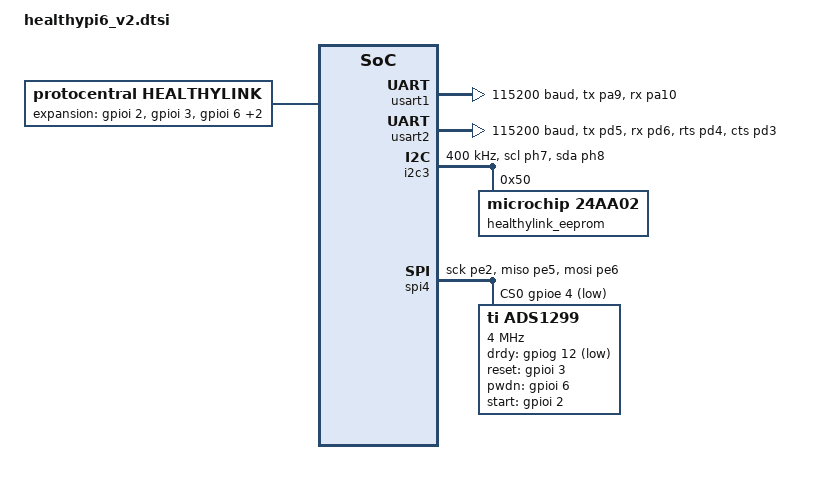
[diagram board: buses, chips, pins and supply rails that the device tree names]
/*
 * Copyright (c) 2019 Linaro Limited
 * Copyright (c) 2025 ProtoCentral
 *
 * SPDX-License-Identifier: Apache-2.0
 */

#include <zephyr/dt-bindings/input/input-event-codes.h>
#include <zephyr/dt-bindings/gpio/gpio.h>
#include <zephyr/dt-bindings/i2c/i2c.h>
#include <zephyr/dt-bindings/clock/stm32h7_clock.h>

&usart1 {
	pinctrl-0 = <&usart1_tx_pa9 &usart1_rx_pa10>;
	pinctrl-names = "default";
	current-speed = <115200>;
};

&usart2 {
	pinctrl-0 = <&usart2_tx_pd5 &usart2_rx_pd6 &usart2_rts_pd4 &usart2_cts_pd3>;
	pinctrl-names = "default";
	current-speed = <115200>;
};

&mailbox {
	status = "okay";
};

&rcc {
	d1cpre = <1>;
	hpre = <2>;
	d1ppre = <2>;
	d2ppre1 = <2>;
	d2ppre2 = <2>;
	d3ppre = <2>;
};

/*
 * HealthyLink Expansion Port Base Definitions
 *
 * Pin Assignments:
 *   SPI4:   PE2 (SCK), PE5 (MISO), PE6 (MOSI), PE4 (NSS)
 *   SPI6:   PG13 (SCK), PG12 (MISO), PG14 (MOSI), software CS
 *   FDCAN1: PH13 (TX), PH14 (RX)
 *   I2C3:   PH7 (SCL), PH8 (SDA) - Module EEPROM
 *   GPIO:   PI2, PI3, PI6, PA9, PA10
 */

/* I2C3 for module identification EEPROM */
&i2c3 {
	status = "okay";
	pinctrl-0 = <&i2c3_scl_ph7 &i2c3_sda_ph8>;
	pinctrl-names = "default";
	clock-frequency = <I2C_BITRATE_FAST>;

	/* Module ID EEPROM - Microchip 24AA02: 256 bytes @ 0x50 */
	healthylink_eeprom: eeprom@50 {
		compatible = "microchip,24aa02", "atmel,at24";
		reg = <0x50>;
		size = <256>;
		pagesize = <8>;
		address-width = <8>;
		timeout = <5>;
		status = "okay";
	};
};

/*
 * SPI4 for HealthyLink high-speed expansion
 * Enabled by default with ADS1299 child node using deferred-init.
 * The driver will only initialize if EEPROM identifies EEG-8CH module.
 *
 * Note: SPI4 uses PE2 which conflicts with QUADSPI IO2.
 * The M7 DTS should configure QUADSPI without PE2 (dual-SPI mode).
 */
&spi4 {
	status = "okay";
	clocks = <&rcc STM32_CLOCK(APB2, 13)>,
		 <&rcc STM32_SRC_PLL2_Q SPI45_SEL(2)>;
	pinctrl-0 = <&spi4_sck_pe2 &spi4_miso_pe5 &spi4_mosi_pe6>;
	pinctrl-names = "default";
	cs-gpios = <&gpioe 4 GPIO_ACTIVE_LOW>;

	/*
	 * ADS1299 8-Channel EEG AFE (HealthyLink EEG-8CH Module)
	 * Uses deferred-init: driver skeleton loads at boot, but hardware
	 * is only initialized when ads1299_hw_init() is called after
	 * EEPROM identifies the connected module as EEG-8CH (0x0001).
	 */
	ads1299: ads1299@0 {
		compatible = "ti,ads1299";
		reg = <0>;
		spi-max-frequency = <4000000>;
		drdy-gpios = <&gpiog 12 GPIO_ACTIVE_LOW>;
		reset-gpios = <&gpioi 3 GPIO_ACTIVE_HIGH>;
		pwdn-gpios = <&gpioi 6 GPIO_ACTIVE_HIGH>;
		start-gpios = <&gpioi 2 GPIO_ACTIVE_HIGH>;
		gain = <24>;      /* EEG standard gain */
		sample-rate = <250>;
		bias-enabled;     /* Enable BIAS/DRL for common-mode rejection */
		srb1-enabled;     /* Enable SRB1: REF electrode connected to SRB1 pin */
		status = "okay";
		zephyr,deferred-init;
	};
};

/*
 * SPI6 for secondary expansion (disabled by default)
 * Note: PI2 is used by ADS1299 START pin when EEG module is active,
 * so SPI6 CS uses PA10 instead to avoid conflict.
 */
&spi6 {
	status = "disabled";
	pinctrl-0 = <&spi6_sck_pg13 &spi6_miso_pg12 &spi6_mosi_pg14>;
	pinctrl-names = "default";
	cs-gpios = <&gpioa 10 GPIO_ACTIVE_LOW>;
};

/* FDCAN1 for CAN-FD interface (disabled by default) */
&fdcan1 {
	status = "disabled";
	pinctrl-0 = <&fdcan1_tx_ph13 &fdcan1_rx_ph14>;
	pinctrl-names = "default";
	sample-point = <875>;
	sample-point-data = <875>;
};

/* HealthyLink controller node */
/ {
	healthylink: healthylink {
		compatible = "protocentral,healthylink";
		status = "okay";
		zephyr,deferred-init;
		eeprom = <&healthylink_eeprom>;
		expansion-gpios = <&gpioi 2 GPIO_ACTIVE_HIGH>,
		                  <&gpioi 3 GPIO_ACTIVE_HIGH>,
		                  <&gpioi 6 GPIO_ACTIVE_HIGH>,
		                  <&gpioa 9 GPIO_ACTIVE_HIGH>,
		                  <&gpioa 10 GPIO_ACTIVE_HIGH>;
	};

	chosen {
		healthylink-eeprom = &healthylink_eeprom;
	};
};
